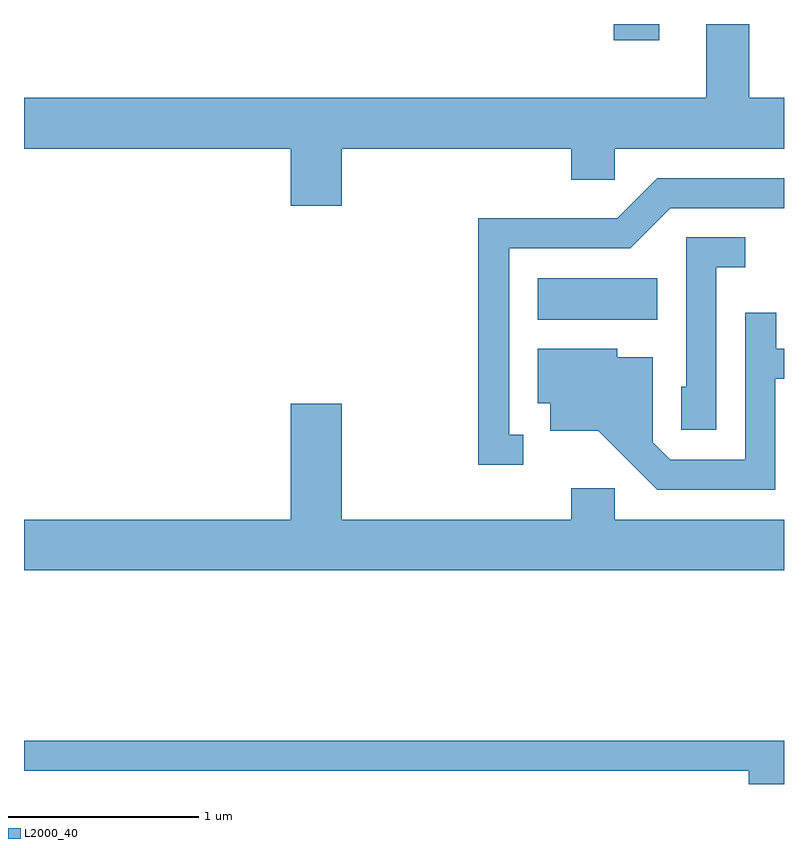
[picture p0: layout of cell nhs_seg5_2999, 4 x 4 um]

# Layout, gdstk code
import gdstk
lib = gdstk.Library(unit=1e-6, precision=1e-09)
def R(c, l, rs):  # rectangles x0, y0, x1, y1
    for r in rs: c.add(gdstk.rectangle(r[:2], r[2:], *l))
def P(c, l, *ps):  # polygons
    for p in ps: c.add(gdstk.Polygon(p, *l))
L2000_40 = (2000, 40)

nhs_seg5_2999 = lib.new_cell('nhs_seg5_2999')
R(nhs_seg5_2999, L2000_40, [(276.316,1502.516,276.944,1502.734), (276.716,1503.986,276.954,1504.072)])
P(nhs_seg5_2999, L2000_40, [(275.284,1503.416),(276.491,1503.416),(276.491,1503.251),(276.719,1503.251),(276.719,1503.416),(277.611,1503.416),(277.611,1503.684),(277.429,1503.684),(277.429,1504.072),(277.201,1504.072),(277.201,1503.684),(273.611,1503.684),(273.611,1503.416),(275.016,1503.416),(275.016,1503.116),(275.284,1503.116)],
  [(276.238,1501.909),(276.164,1501.909),(276.164,1502.891),(276.802,1502.891),(277.012,1503.101),(277.611,1503.101),(277.611,1503.259),(276.944,1503.259),(276.734,1503.049),(276.001,1503.049),(276.001,1501.751),(276.238,1501.751)],
  [(277.254,1502.791),(277.408,1502.791),(277.408,1502.949),(277.096,1502.949),(277.096,1502.164),(277.071,1502.164),(277.071,1501.936),(277.254,1501.936)],
  [(277.564,1502.206),(277.611,1502.206),(277.611,1502.364),(277.569,1502.364),(277.569,1502.553),(277.406,1502.553),(277.406,1501.779),(277.012,1501.779),(276.919,1501.872),(276.919,1502.319),(276.734,1502.319),(276.734,1502.364),(276.316,1502.364),(276.316,1502.076),(276.381,1502.076),(276.381,1501.931),(276.634,1501.931),(276.944,1501.621),(277.564,1501.621)],
  [(277.611,1501.464),(276.719,1501.464),(276.719,1501.629),(276.491,1501.629),(276.491,1501.464),(275.284,1501.464),(275.284,1502.074),(275.016,1502.074),(275.016,1501.464),(273.611,1501.464),(273.611,1501.196),(277.611,1501.196)],
  [(277.611,1500.299),(273.611,1500.299),(273.611,1500.141),(277.426,1500.141),(277.426,1500.072),(277.611,1500.072)])

lib.write_gds('nhs_seg5_2999.gds')
